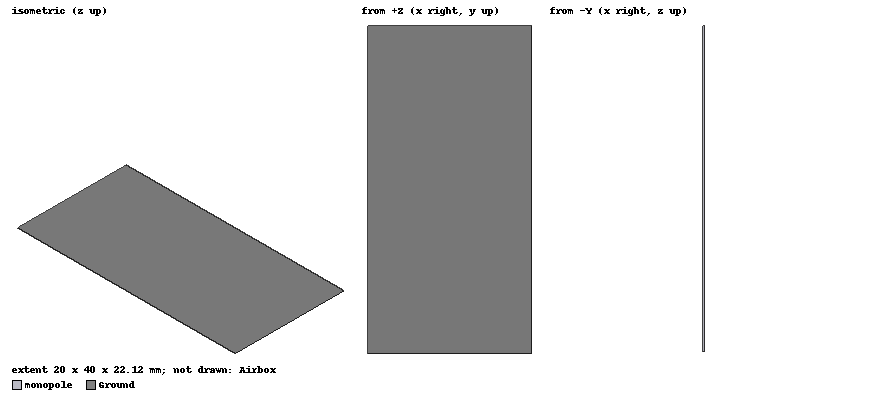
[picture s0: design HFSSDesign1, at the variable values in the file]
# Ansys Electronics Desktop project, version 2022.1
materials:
  vacuum: permittivity=1
  pec: conductivity=1e+30

design HFSSDesign1 (HFSS, DrivenModal, model units mm)
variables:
  C = 0.3g
  F = 3.3g
  lambda = C/F
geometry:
  monopole [pec] = cylinder(axis=Z, base_centre=(0mm, 0mm, 0.125mm), radius=0.0625mm, height=22mm)
  Ground = rectangle(corner=((-20/2) mm, (-40/2) mm, 0mm), x_size=20mm, y_size=40mm)
  port = rectangle(corner=(0mm, -0.0625mm, 0.125mm), y_size=0.125mm, z_size=-0.125mm)
  Airbox [vacuum] = box(corner=((-20/2) mm, (-40/2) mm, (-70/2) mm), size=(20mm, 40mm, 70mm))
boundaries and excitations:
  Rad1: Radiation Objects=Airbox
  PerfE1: Perfect E Objects=Ground
  1: Lumped Port Objects=port Modes{Mode1{IntLine{(0mm, 0mm, 10mm) -> (0mm, 0mm, 120mm)} CharImp=Zpi RenormImp=50ohm}} Impedance=50ohm
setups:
  Setup1: HfssDriven Frequency=3.3GHz MaxDeltaS=0.02 MaximumPasses=10 MinimumPasses=1 MinimumConvergedPasses=1 PercentRefinement=30 BasisOrder=1 PortAccuracy=2 DrivenSolverType="Direct Solver"
    sweep Sweep: 2.5GHz to 4GHz step 0.02GHz; Type=Fast SaveFields
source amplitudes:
  1:1: 1W 0deg
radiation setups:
  Infinite Sphere1: Infinite Sphere Theta=-180deg..180deg step 10deg Phi=0deg..360deg step 10deg
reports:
  S Parameter Plot 1: dB(S(1,1)) vs Freq on Setup1 : Sweep; markers m1 at 3.08GHz, m2 at 3.3GHz, m3 at 3.3GHz
  VSWR Plot 1: VSWR(1) vs Freq on Setup1 : Sweep
  Gain Plot 1: dB(GainPhi), dB(GainTheta) vs Theta on Setup1 : LastAdaptive, Infinite Sphere1 [Phi=90deg Freq=3.3GHz]
  Gain Plot 2: dB(GainPhi), dB(GainTheta) vs Phi on Setup1 : LastAdaptive, Infinite Sphere1 [Theta=-90deg Freq=3.3GHz]
  Gain Plot 3: dB(GainPhi), dB(GainTheta) vs Phi, Theta on Setup1 : LastAdaptive, Infinite Sphere1 [Freq=3.3GHz]
